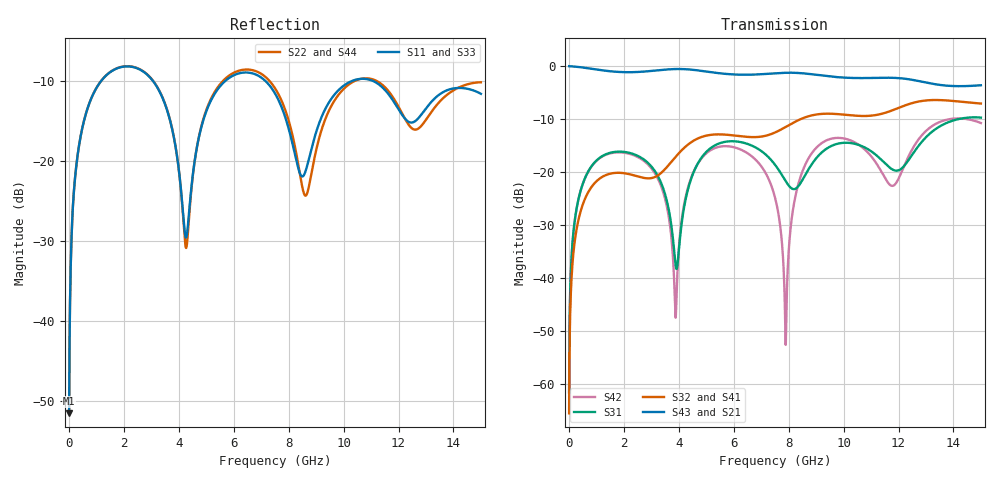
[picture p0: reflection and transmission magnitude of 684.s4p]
! Created with skrf 1.8.0 (http://scikit-rf.org).
# GHz S RI R 50.0
!freq ReS11 ImS11 ReS12 ImS12 ReS13 ImS13
! ReS14 ImS14
! ReS21 ImS21 ReS22 ImS22 ReS23 ImS23
! ReS24 ImS24
! ReS31 ImS31 ReS32 ImS32 ReS33 ImS33
! ReS34 ImS34
! ReS41 ImS41 ReS42 ImS42 ReS43 ImS43
! ReS44 ImS44
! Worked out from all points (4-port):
!   2499 points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, 5 MHz to 15 GHz, reference 50 ohm
!   strongest paths, dB at 5 MHz, 3.476 GHz, 7.19 GHz, 11.1 GHz, 15 GHz:
!     S43: 0.0, -0.7, -1.5, -2.2, -3.6
!     S21: 0.0, -0.7, -1.5, -2.2, -3.6
!     S32: -65.5, -19.5, -13.1, -9.3, -7.1
!     S41: -65.5, -19.6, -13.1, -9.3, -7.2
!     S31: -61.5, -23.8, -16.8, -16.4, -9.7
!     S42: -61.5, -24.6, -20.4, -17.6, -10.7
!   lowest |S11| = -51.6 dB at 5 MHz (marker M1), VSWR 1.01, Z = 50.2 + j0.16 ohm
!   |S11| at or under -10 dB: 3.07 GHz to 5.673 GHz (2.604 GHz wide, 59.6 % of centre); 7.17 GHz to 10.27 GHz (3.1 GHz wide, 35.5 % of centre); 11.1 GHz to end of sweep (the widest 3 of 4)
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0.005  0.0021 0.0016  0.9979 -0.00409  0.000107 0.000832  -0.000104 -0.000523
       0.9979 -0.00409  0.0021 0.0016  -0.000104 -0.000523  0.000107 0.000833
       0.000107 0.000832  -0.000104 -0.000523  0.0021 0.0016  0.9979 -0.00409
       -0.000104 -0.000523  0.000107 0.000833  0.9979 -0.00409  0.0021 0.0016
1.219258  0.2731 0.1772  0.5429 -0.7318  0.13 0.0574  -0.0903 -0.00539
          0.5429 -0.7318  0.2745 0.1763  -0.0903 -0.00529  0.126 0.0629
          0.13 0.0574  -0.0903 -0.00529  0.273 0.1772  0.5429 -0.7318
          -0.0903 -0.00539  0.126 0.0629  0.5429 -0.7318  0.2745 0.1762
3.882868  0.0623 -0.1056  -0.8754 -0.336  -0.0117 -0.00624  -0.0464 0.1314
          -0.8754 -0.336  0.0578 -0.1089  -0.045 0.1319  -0.00412 -0.00102
          -0.0117 -0.00624  -0.045 0.1319  0.0631 -0.1048  -0.8754 -0.3361
          -0.0464 0.1314  -0.00412 -0.00102  -0.8754 -0.3361  0.0566 -0.1089
4.32055  0.0348 0.015  -0.9314 -0.0196  0.0111 0.066  0.00142 0.1809
         -0.9314 -0.0196  0.0303 0.0147  0.00329 0.1808  0.0102 0.0688
         0.0111 0.066  0.00329 0.1808  0.036 0.0153  -0.9314 -0.0197
         0.00142 0.1809  0.0102 0.0688  -0.9314 -0.0197  0.0289 0.0152
7.890788  0.1412 -0.1198  0.6827 0.5301  -0.0594 -0.0571  0.1599 -0.2135
          0.6827 0.5301  0.1376 -0.1529  0.1553 -0.2168  -0.00218 -0.000894
          -0.0594 -0.0571  0.1553 -0.2168  0.1425 -0.1169  0.6826 0.5308
          0.1599 -0.2135  -0.00218 -0.000894  0.6826 0.5308  0.1348 -0.1528
11.07336  0.3153 -0.0409  -0.0289 -0.7718  0.0722 -0.1346  -0.3386 0.0484
          -0.0289 -0.7718  0.3225 -0.0423  -0.3376 0.0573  0.0779 -0.109
          0.0722 -0.1346  -0.3376 0.0573  0.313 -0.0421  -0.0263 -0.7726
          -0.3386 0.0484  0.0779 -0.109  -0.0263 -0.7726  0.3216 -0.0381
15  0.2404 -0.1101  -0.259 0.6059  0.3143 -0.0895  0.4335 0.0675
    -0.259 0.6059  0.2998 -0.0869  0.4403 0.0529  0.2892 0.0273
    0.3143 -0.0895  0.4403 0.0529  0.2331 -0.1029  -0.2646 0.6039
    0.4335 0.0675  0.2892 0.0273  -0.2646 0.6039  0.3071 -0.0865
